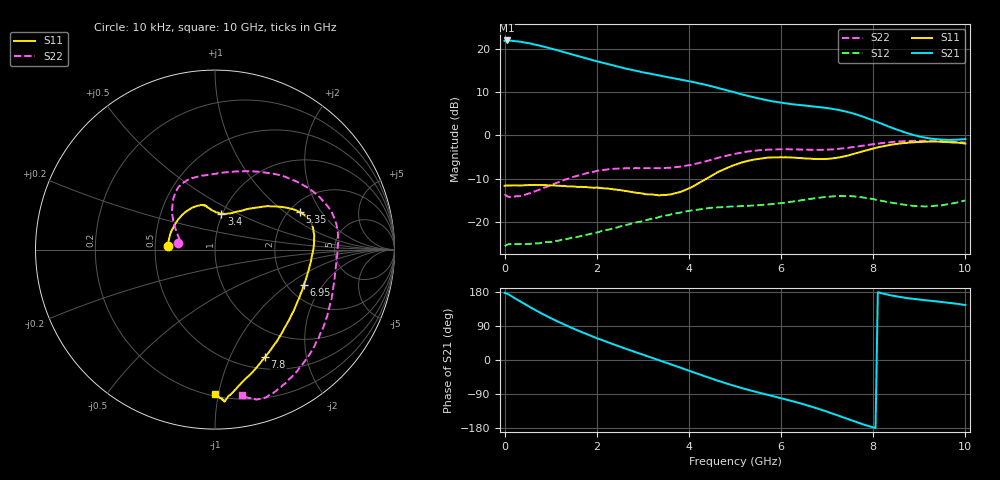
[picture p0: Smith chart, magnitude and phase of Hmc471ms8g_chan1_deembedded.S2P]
# MHZ S MA R 50
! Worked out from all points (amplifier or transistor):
!   201 points, 10 kHz to 10 GHz, reference 50 ohm
!   highest |S21| = 22.0 dB at 50.01 MHz (marker M1)
!   |S21| within 3 dB of that: start of sweep to 1.386 GHz
!   unconditionally stable (mu >= 1): start of sweep to 5.24 GHz
!   at 1.65 GHz: K = 1.10, MAG = 18.9 dB, |S12| = -23.3 dB
!   at 5 GHz: K = 1.01, MAG = 12.6 dB, |S12| = -16.4 dB
!   at 10 GHz: K = 0.86, MSG = 7.1 dB, |S12| = -15.1 dB
!   S11 on the Smith chart (normalised r, x): 10 kHz: 0.59, +0.03; 3.4 GHz: 0.99, +0.41; 5.35 GHz: 2.28, +1.30; 6.95 GHz: 2.42, -1.34; 7.8 GHz: 0.64, -1.36; 10 GHz: 0.21, -0.98
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0.01  0.261 175.0  12.51 177.3  0.052 -0.9  0.209 169.5
50.01  0.263 174.2  12.64 175.3  0.054 -0.5  0.198 173.9
250.01  0.264 157.1  12.4 161.0  0.055 -0.3  0.198 169.9
450.01  0.265 141.2  11.95 146.4  0.055 -0.5  0.206 163.9
600.009  0.266 131.9  11.5 136.2  0.056 -0.5  0.22 159.6
800.009  0.266 121.5  10.87 123.0  0.057 -0.3  0.24 154.1
1150.009  0.261 110.0  9.715 101.7  0.06 -0.3  0.284 145.0
1450.009  0.257 104.8  8.76 85.1  0.065 -1.2  0.326 137.3
1700.008  0.252 102.7  8.024 72.2  0.069 -2.6  0.355 131.5
2000.008  0.249 101.3  7.255 57.7  0.075 -5.0  0.388 124.8
2400.008  0.236 99.2  6.4 39.6  0.085 -9.8  0.412 116.7
2850.007  0.217 93.1  5.629 20.3  0.098 -16.8  0.419 107.8
3350.007  0.202 81.5  4.963 -0.6  0.113 -26.9  0.417 96.6
3400.007  0.203 79.9  4.913 -2.7  0.115 -28.0  0.419 95.0
4200.006  0.278 53.2  4.04 -36.7  0.138 -48.6  0.476 66.5
5000.005  0.457 30.9  3.153 -68.8  0.151 -70.5  0.612 35.5
5350.005  0.517 23.8  2.817 -80.8  0.154 -78.7  0.657 25.1
6700.003  0.535 -10.4  2.174 -124.5  0.186 -110.7  0.681 -4.2
6950.003  0.532 -22.0  2.1 -134.4  0.193 -118.7  0.682 -11.0
7800.002  0.661 -65.0  1.635 -170.6  0.19 -149.7  0.764 -42.5
8350.002  0.773 -80.4  1.257 171.5  0.168 -164.7  0.831 -60.2
10000  0.805 -89.9  0.908 145.0  0.176 175.9  0.823 -79.4
